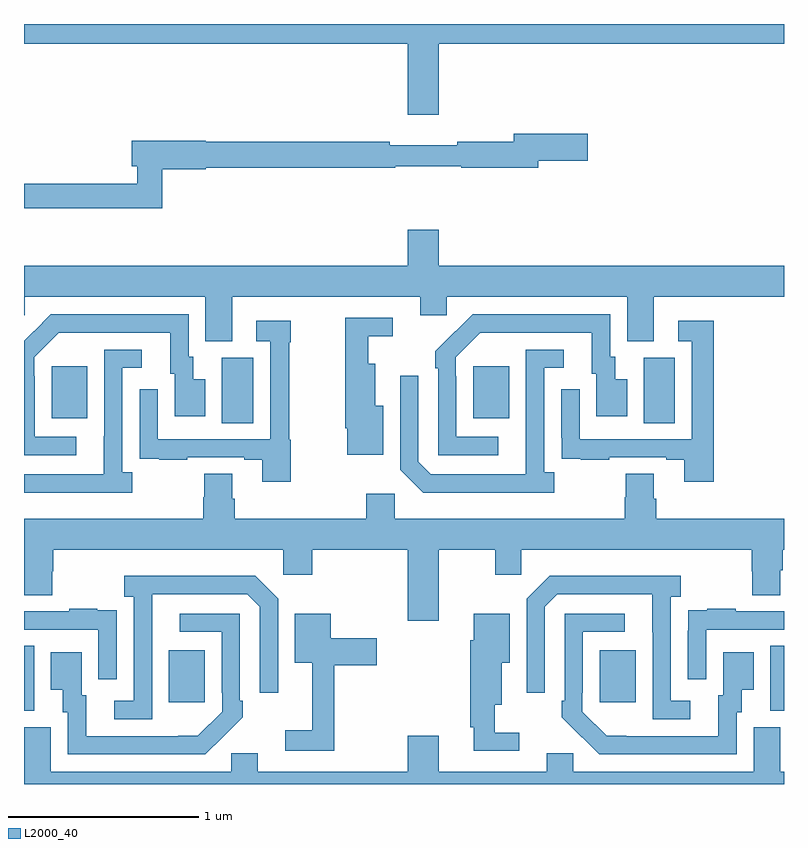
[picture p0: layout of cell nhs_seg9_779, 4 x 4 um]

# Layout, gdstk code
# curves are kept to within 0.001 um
import gdstk
lib = gdstk.Library(unit=1e-6, precision=1e-09)
def R(c, l, rs):  # rectangles x0, y0, x1, y1
    for r in rs: c.add(gdstk.rectangle(r[:2], r[2:], *l))
def P(c, l, *ps):  # polygons
    for p in ps: c.add(gdstk.Polygon(p, *l))
L2000_40 = (2000, 40)

nhs_seg9_779 = lib.new_cell('nhs_seg9_779')
R(nhs_seg9_779, L2000_40, [(151,1216.885,151.054,1217.228), (154.928,1216.885,155,1217.228), (151.763,1216.929,151.951,1217.203), (154.031,1216.929,154.219,1217.203), (152.042,1218.4,152.206,1218.744), (154.262,1218.4,154.426,1218.744), (151.145,1218.425,151.333,1218.7), (153.365,1218.425,153.553,1218.7)])
P(nhs_seg9_779, L2000_40, [(153.184,1220.396),(155,1220.396),(155,1220.5),(151,1220.5),(151,1220.396),(153.02,1220.396),(153.02,1220.022),(153.184,1220.022)],
  [(151.727,1219.736),(151.956,1219.736),(151.956,1219.744),(152.953,1219.744),(152.953,1219.752),(153.302,1219.752),(153.302,1219.744),(153.706,1219.744),(153.706,1219.781),(153.967,1219.781),(153.967,1219.923),(153.578,1219.923),(153.578,1219.88),(153.28,1219.88),(153.28,1219.861),(152.924,1219.861),(152.924,1219.88),(151.956,1219.88),(151.956,1219.886),(151.568,1219.886),(151.568,1219.751),(151.595,1219.751),(151.595,1219.658),(151,1219.658),(151,1219.53),(151.727,1219.53)],
  [(152.095,1219.064),(153.086,1219.064),(153.086,1218.966),(153.225,1218.966),(153.225,1219.064),(154.175,1219.064),(154.175,1218.829),(154.315,1218.829),(154.315,1219.064),(155,1219.064),(155,1219.228),(153.184,1219.228),(153.184,1219.417),(153.02,1219.417),(153.02,1219.228),(151,1219.228),(151,1218.966),(151.005,1218.966),(151.005,1219.064),(151.955,1219.064),(151.955,1218.829),(152.095,1218.829)],
  [(153.496,1218.327),(153.276,1218.327),(153.276,1218.647),(153.273,1218.647),(153.273,1218.747),(153.402,1218.876),(153.989,1218.876),(153.989,1218.66),(154.013,1218.66),(154.013,1218.435),(154.174,1218.435),(154.174,1218.631),(154.111,1218.631),(154.111,1218.75),(154.086,1218.75),(154.086,1218.972),(153.362,1218.972),(153.165,1218.777),(153.165,1218.689),(153.18,1218.689),(153.18,1218.231),(153.496,1218.231)],
  [(151.276,1218.327),(151.056,1218.327),(151.056,1218.647),(151.053,1218.647),(151.053,1218.747),(151.182,1218.876),(151.769,1218.876),(151.769,1218.66),(151.793,1218.66),(151.793,1218.435),(151.954,1218.435),(151.954,1218.631),(151.891,1218.631),(151.891,1218.75),(151.866,1218.75),(151.866,1218.972),(151.142,1218.972),(151,1218.832),(151,1218.231),(151.276,1218.231)],
  [(152.89,1218.49),(152.848,1218.49),(152.848,1218.712),(152.812,1218.712),(152.812,1218.857),(152.941,1218.857),(152.941,1218.954),(152.69,1218.954),(152.69,1218.372),(152.702,1218.372),(152.702,1218.233),(152.89,1218.233)],
  [(154.631,1218.937),(154.443,1218.937),(154.443,1218.831),(154.515,1218.831),(154.515,1218.315),(153.924,1218.315),(153.924,1218.577),(153.828,1218.577),(153.828,1218.322),(153.829,1218.322),(153.829,1218.213),(153.931,1218.213),(153.931,1218.207),(154.079,1218.207),(154.079,1218.219),(154.379,1218.219),(154.379,1218.207),(154.475,1218.207),(154.475,1218.09),(154.631,1218.09)],
  [(152.405,1218.312),(152.396,1218.312),(152.396,1218.824),(152.404,1218.824),(152.404,1218.937),(152.223,1218.937),(152.223,1218.831),(152.295,1218.831),(152.295,1218.315),(151.704,1218.315),(151.704,1218.577),(151.608,1218.577),(151.608,1218.322),(151.609,1218.322),(151.609,1218.213),(151.711,1218.213),(151.711,1218.207),(151.859,1218.207),(151.859,1218.219),(152.159,1218.219),(152.159,1218.207),(152.255,1218.207),(152.255,1218.09),(152.405,1218.09)],
  [(151.57,1218.142),(151.518,1218.142),(151.518,1218.69),(151.621,1218.69),(151.621,1218.786),(151.422,1218.786),(151.422,1218.329),(151.421,1218.329),(151.421,1218.129),(151,1218.129),(151,1218.032),(151.57,1218.032)],
  [(153.79,1218.142),(153.738,1218.142),(153.738,1218.69),(153.841,1218.69),(153.841,1218.786),(153.642,1218.786),(153.641,1218.129),(153.141,1218.129),(153.075,1218.195),(153.075,1218.649),(152.979,1218.649),(152.979,1218.153),(153.1,1218.032),(153.79,1218.032)],
  [(154.829,1217.619),(154.834,1217.619),(154.834,1217.494),(154.981,1217.494),(154.981,1217.626),(154.994,1217.626),(154.994,1217.732),(155,1217.732),(155,1217.896),(154.328,1217.896),(154.328,1218.002),(154.315,1218.002),(154.315,1218.134),(154.168,1218.134),(154.168,1218.009),(154.163,1218.009),(154.163,1217.896),(152.952,1217.896),(152.952,1218.028),(152.801,1218.028),(152.801,1217.896),(152.108,1217.896),(152.108,1218.002),(152.095,1218.002),(152.095,1218.134),(151.948,1218.134),(151.948,1218.009),(151.943,1218.009),(151.943,1217.896),(151,1217.896),(151,1217.626),(151.001,1217.626),(151.001,1217.494),(151.149,1217.494),(151.149,1217.619),(151.154,1217.619),(151.154,1217.732),(152.364,1217.732),(152.364,1217.601),(152.516,1217.601),(152.516,1217.732),(153.02,1217.732),(153.02,1217.358),(153.184,1217.358),(153.184,1217.732),(153.479,1217.732),(153.479,1217.601),(153.618,1217.601),(153.618,1217.732),(154.829,1217.732)],
  [(151.674,1217.299),(151.675,1217.499),(152.175,1217.499),(152.241,1217.433),(152.241,1216.98),(152.337,1216.98),(152.337,1217.475),(152.216,1217.596),(151.527,1217.596),(151.527,1217.486),(151.578,1217.486),(151.578,1216.938),(151.476,1216.938),(151.476,1216.842),(151.674,1216.842)],
  [(154.507,1216.938),(154.404,1216.938),(154.404,1217.486),(154.456,1217.486),(154.456,1217.596),(153.766,1217.596),(153.645,1217.475),(153.645,1216.98),(153.741,1216.98),(153.741,1217.433),(153.807,1217.499),(154.307,1217.499),(154.308,1216.842),(154.507,1216.842)],
  [(151.488,1217.306),(151.487,1217.306),(151.487,1217.415),(151.385,1217.415),(151.385,1217.422),(151.237,1217.422),(151.237,1217.409),(151,1217.409),(151,1217.313),(151.392,1217.313),(151.392,1217.052),(151.488,1217.052)],
  [(154.59,1217.313),(155,1217.313),(155,1217.409),(154.745,1217.409),(154.745,1217.422),(154.597,1217.422),(154.597,1217.415),(154.495,1217.415),(154.495,1217.306),(154.494,1217.306),(154.494,1217.052),(154.59,1217.052)],
  [(152.045,1216.747),(152.046,1216.746),(152.151,1216.851),(152.151,1216.939),(152.136,1216.939),(152.136,1217.397),(151.821,1217.397),(151.821,1217.301),(152.04,1217.301),(152.04,1216.981),(152.043,1216.981),(152.043,1216.881),(151.915,1216.753),(151.327,1216.752),(151.327,1216.968),(151.303,1216.968),(151.303,1217.194),(151.142,1217.194),(151.142,1216.997),(151.205,1216.997),(151.205,1216.878),(151.23,1216.878),(151.23,1216.656),(151.954,1216.656)],
  [(154.752,1216.878),(154.777,1216.878),(154.777,1216.997),(154.84,1216.997),(154.84,1217.194),(154.679,1217.194),(154.679,1216.968),(154.655,1216.968),(154.655,1216.752),(154.068,1216.753),(153.939,1216.881),(153.939,1216.981),(153.942,1216.981),(153.942,1217.301),(154.162,1217.301),(154.162,1217.397),(153.846,1217.397),(153.846,1216.939),(153.831,1216.939),(153.831,1216.851),(154.028,1216.656),(154.752,1216.656)],
  [(152.633,1217.126),(152.857,1217.126),(152.857,1217.268),(152.614,1217.268),(152.614,1217.395),(152.426,1217.395),(152.426,1217.138),(152.516,1217.138),(152.516,1216.783),(152.376,1216.783),(152.376,1216.674),(152.633,1216.674)],
  [(153.607,1216.771),(153.478,1216.771),(153.478,1216.916),(153.514,1216.916),(153.514,1217.138),(153.556,1217.138),(153.556,1217.395),(153.368,1217.395),(153.368,1217.256),(153.349,1217.256),(153.349,1216.799),(153.368,1216.799),(153.368,1216.674),(153.607,1216.674)],
  [(155,1216.564),(154.981,1216.564),(154.981,1216.8),(154.841,1216.8),(154.841,1216.564),(153.891,1216.564),(153.891,1216.662),(153.752,1216.662),(153.752,1216.564),(153.184,1216.564),(153.184,1216.753),(153.02,1216.753),(153.02,1216.564),(152.23,1216.564),(152.23,1216.662),(152.091,1216.662),(152.091,1216.564),(151.141,1216.564),(151.141,1216.8),(151.001,1216.8),(151.001,1216.564),(151,1216.564),(151,1216.5),(155,1216.5)])

lib.write_gds('nhs_seg9_779.gds')
